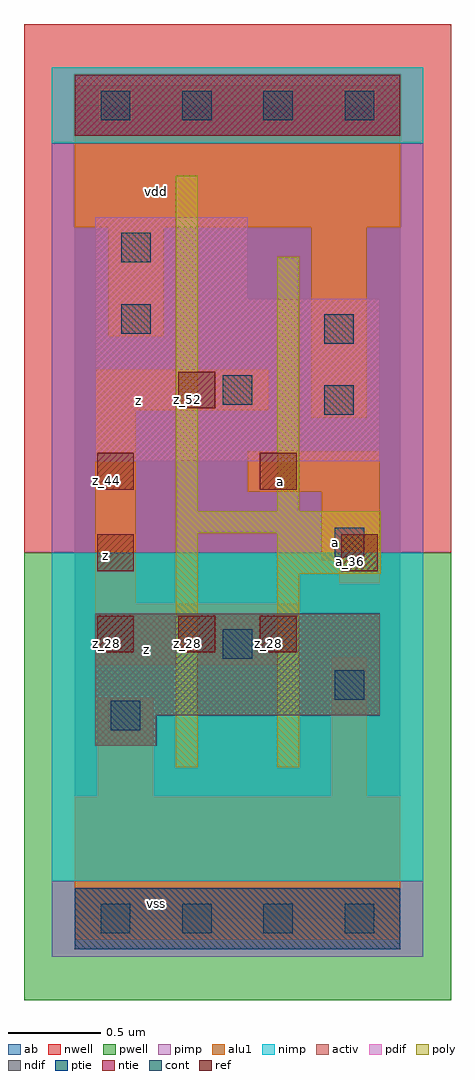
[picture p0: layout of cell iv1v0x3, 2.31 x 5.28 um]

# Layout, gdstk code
import gdstk
lib = gdstk.Library(unit=1e-6, precision=2.5e-09)
def R(c, l, rs):  # rectangles x0, y0, x1, y1
    for r in rs: c.add(gdstk.rectangle(r[:2], r[2:], *l))
def A(c, l, x, y, w, h, nx, ny, dx, dy):  # array of equal rectangles
    R(c, l, [(x+i*dx, y+j*dy, x+i*dx+w, y+j*dy+h) for i in range(nx) for j in range(ny)])
ndif = (3, 0)
pdif = (4, 0)
ntie = (5, 0)
ptie = (6, 0)
ref = (24, 0)
cont = (25, 0)
pwell = (41, 0)
nwell = (42, 0)
activ = (43, 0)
pimp = (44, 0)
nimp = (45, 0)
poly = (46, 0)
alu1 = (49, 0)
ab = (63, 0)

iv1v0x3 = lib.new_cell('iv1v0x3')
R(iv1v0x3, ndif, [(0.11,0.935,0.44,1.1), (0.11,1.1,1.65,1.65)])
R(iv1v0x3, pdif, [(0.11,2.475,1.65,3.355), (0.11,3.355,0.935,3.795)])
R(iv1v0x3, ntie, [(0,4.235,1.76,4.565)])
R(iv1v0x3, ptie, [(0,-0.165,1.76,0.165)])
A(iv1v0x3, ref, 0.12, 1.44, 0.2, 0.2, 3, 1, 0.44, 0)
R(iv1v0x3, ref, [(0.12,1.88,0.32,2.08), (1.44,1.88,1.64,2.08), (0.12,2.32,0.32,2.52), (1,2.32,1.2,2.52), (0.56,2.76,0.76,2.96)])
A(iv1v0x3, cont, 0.14, -0.08, 0.16, 0.16, 4, 2, 0.44, 4.4)
R(iv1v0x3, cont, [(0.195,1.02,0.355,1.18), (1.405,1.185,1.565,1.345), (0.8,1.405,0.96,1.565), (1.405,1.955,1.565,2.115), (1.35,2.725,1.51,2.885), (0.8,2.78,0.96,2.94), (1.35,3.11,1.51,3.27), (0.25,3.165,0.41,3.325), (0.25,3.55,0.41,3.71)])
R(iv1v0x3, pwell, [(-0.275,-0.44,2.035,1.98)])
R(iv1v0x3, nwell, [(-0.275,1.98,2.035,4.84)])
R(iv1v0x3, activ, [(0,-0.165,1.76,0.165), (0.11,0.935,0.44,1.1), (0.11,1.1,1.65,1.65), (0.11,2.475,1.65,3.355), (0.11,3.355,0.935,3.795), (0,4.235,1.76,4.565)])
R(iv1v0x3, pimp, [(-0.125,-0.205,1.885,0.205), (-0.125,1.98,1.885,4.195)])
R(iv1v0x3, nimp, [(-0.125,0.205,1.885,1.98), (-0.125,4.195,1.885,4.605)])
R(iv1v0x3, poly, [(0.545,0.82,0.665,2.085), (1.095,0.82,1.215,1.865), (1.095,1.865,1.655,2.085), (0.545,2.085,1.655,2.205), (0.545,2.205,0.665,4.02), (1.095,2.205,1.215,3.58)])
R(iv1v0x3, alu1, [(0,-0.11,1.76,0.66), (0.125,0.66,0.425,1.195), (1.39,0.66,1.58,1.415), (0.11,1.375,1.21,1.705), (0.11,1.705,0.33,2.75), (1.43,1.815,1.65,1.94), (1.335,1.94,1.65,2.31), (0.935,2.31,1.65,2.53), (1.28,2.71,1.58,3.74), (0.11,2.75,1.045,2.97), (0.18,3.15,0.48,3.74), (0,3.74,1.76,4.51)])
R(iv1v0x3, ab, [(0,0,1.76,4.4)])
iv1v0x3.add(gdstk.Label('vss', (0.44,0.0825), layer=49, texttype=0))
iv1v0x3.add(gdstk.Label('z', (0.385,1.4575), layer=49, texttype=0))
iv1v0x3.add(gdstk.Label('a', (1.4125,2.0325), layer=49, texttype=0))
iv1v0x3.add(gdstk.Label('a', (1.1125,2.365), layer=49, texttype=0))
iv1v0x3.add(gdstk.Label('z', (0.165,1.965), layer=49, texttype=0))
iv1v0x3.add(gdstk.Label('z', (0.3425,2.805), layer=49, texttype=0))
iv1v0x3.add(gdstk.Label('vdd', (0.44,3.9325), layer=49, texttype=0))
iv1v0x3.add(gdstk.Label('z_28', (0.61,1.49), layer=24, texttype=0))
iv1v0x3.add(gdstk.Label('z_52', (0.61,2.81), layer=24, texttype=0))
iv1v0x3.add(gdstk.Label('z_28', (1.05,1.49), layer=24, texttype=0))
iv1v0x3.add(gdstk.Label('a_44', (1.05,2.37), layer=24, texttype=0))
iv1v0x3.add(gdstk.Label('a_36', (1.49,1.93), layer=24, texttype=0))
iv1v0x3.add(gdstk.Label('z_28', (0.17,1.49), layer=24, texttype=0))
iv1v0x3.add(gdstk.Label('z_36', (0.17,1.93), layer=24, texttype=0))
iv1v0x3.add(gdstk.Label('z_44', (0.17,2.37), layer=24, texttype=0))

lib.write_gds('iv1v0x3.gds')
